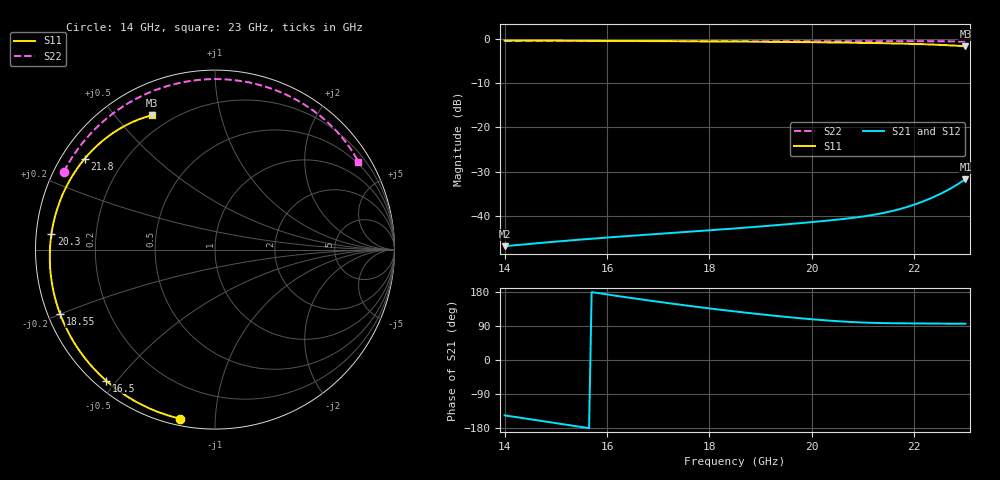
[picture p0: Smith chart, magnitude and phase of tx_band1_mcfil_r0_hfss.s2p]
! Touchstone file exported from HFSS 3D Layout Design 2026.1.0
!  File:  D:/Work/SIM/ADS_AUTO_SIM/projects/RFSOC_RF/TX_Fillter.aedt
!  Generated:  08:12:37 PM Aug 30, 2026
!  Design:  TX_BAND1_MCFIL_BB_14_23G
!  Project:  TX_Fillter
# GHz S MA R 50.000000
! Terminal data exported
! Port[1] = Port1
! Port[2] = Port2
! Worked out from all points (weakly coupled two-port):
!   181 points, 14 GHz to 23 GHz, reference 50 ohm
!   highest |S21| = -31.70 dB at 23 GHz (marker M1); lowest = -46.9 dB at 14 GHz (marker M2)
!   lowest |S11| = -1.7 dB at 23 GHz (marker M3), VSWR 10.55, Z = 6.64 + j31.4 ohm
!   |S11| at or under -10 dB: nowhere
!   |S22| runs from -0.6 to -0.4 dB; largest |S21 - S12| = 1.6e-16
!   S11 on the Smith chart (normalised r, x): 14 GHz: 0.03, -0.81; 16.5 GHz: 0.03, -0.47; 18.55 GHz: 0.04, -0.20; 20.3 GHz: 0.04, +0.05; 21.8 GHz: 0.07, +0.31; 23 GHz: 0.13, +0.63
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14  0.9621 -101.7  0.004534 -146.1  0.004534 -146.1  0.9472 152.7
14.75  0.9586 -109.5  0.004963 -161.4  0.004963 -161.4  0.9474 139.8
15.15  0.9566 -113.9  0.005193 -169.7  0.005193 -169.7  0.9477 133.1
15.5  0.9547 -117.9  0.005393 -176.9  0.005393 -176.9  0.9479 127.4
16  0.952 -123.7  0.005677 173.0  0.005677 173.0  0.9483 119.5
16.5  0.949 -129.7  0.005959 163.1  0.005959 163.1  0.9487 111.8
17  0.9459 -136.0  0.006243 153.7  0.006243 153.7  0.9492 104.4
17.75  0.9408 -146.0  0.006691 140.3  0.006691 140.3  0.9498 93.8
18.5  0.9349 -156.7  0.007195 128.1  0.007195 128.1  0.9503 83.8
18.55  0.9344 -157.4  0.007231 127.3  0.007231 127.3  0.9503 83.2
19.3  0.9274 -168.9  0.007827 116.4  0.007827 116.4  0.9503 73.7
19.65  0.9236 -174.5  0.008142 111.7  0.008142 111.7  0.9502 69.4
20  0.9194 179.6  0.008486 107.5  0.008486 107.5  0.9499 65.2
20.3  0.9154 174.4  0.008813 104.3  0.008813 104.3  0.9496 61.7
20.9  0.9059 163.5  0.009643 99.4  0.009643 99.4  0.9485 54.8
21.2  0.9001 157.6  0.01025 98.0  0.01025 98.0  0.9478 51.4
21.5  0.8933 151.6  0.01109 97.1  0.01109 97.1  0.9468 48.1
21.8  0.8853 145.2  0.01229 96.7  0.01229 96.7  0.9457 44.7
22.15  0.8736 137.2  0.01437 96.4  0.01437 96.4  0.9439 40.9
22.45  0.8608 129.9  0.01702 96.1  0.01702 96.1  0.9419 37.5
22.75  0.8444 122.1  0.02097 95.8  0.02097 95.8  0.9392 34.2
23  0.8268 115.0  0.026 95.7  0.026 95.7  0.9363 31.4
